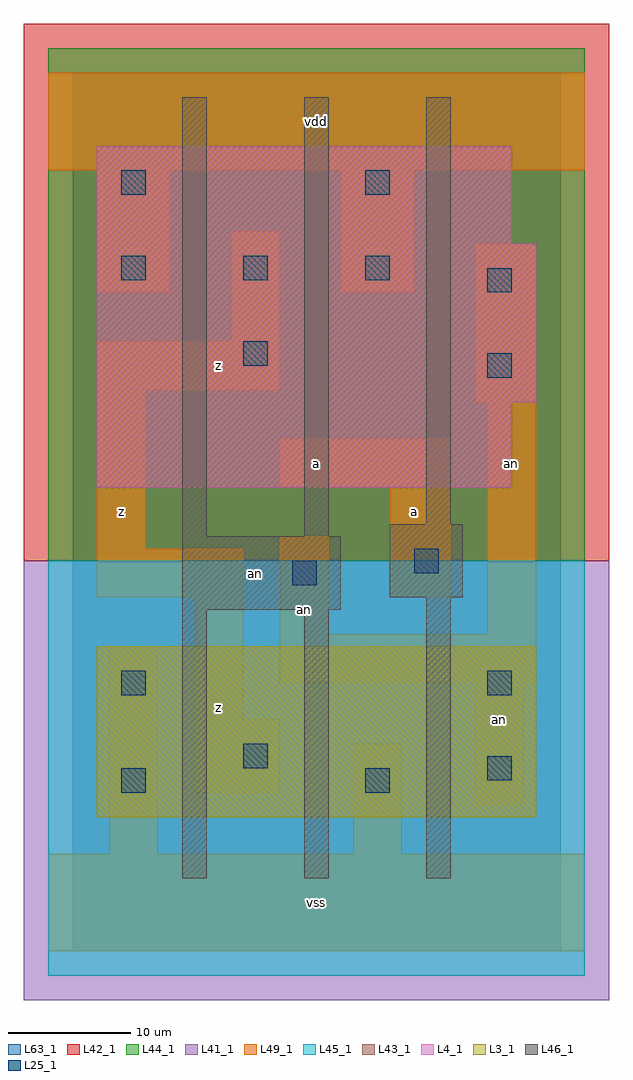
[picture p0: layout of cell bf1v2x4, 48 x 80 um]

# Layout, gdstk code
import gdstk
lib = gdstk.Library(unit=1e-6, precision=1e-09)
def R(c, l, rs):  # rectangles x0, y0, x1, y1
    for r in rs: c.add(gdstk.rectangle(r[:2], r[2:], *l))
def A(c, l, x, y, w, h, nx, ny, dx, dy):  # array of equal rectangles
    R(c, l, [(x+i*dx, y+j*dy, x+i*dx+w, y+j*dy+h) for i in range(nx) for j in range(ny)])
L3_1 = (3, 1)
L4_1 = (4, 1)
L25_1 = (25, 1)
L41_1 = (41, 1)
L42_1 = (42, 1)
L43_1 = (43, 1)
L44_1 = (44, 1)
L45_1 = (45, 1)
L46_1 = (46, 1)
L49_1 = (49, 1)
L63_1 = (63, 1)

bf1v2x4 = lib.new_cell('bf1v2x4')
R(bf1v2x4, L3_1, [(2,11,38,25)])
R(bf1v2x4, L4_1, [(2,38,36,45), (2,45,38,58), (2,58,36,66)])
A(bf1v2x4, L25_1, 4, 55, 2, 2, 3, 1, 10, 0)
R(bf1v2x4, L25_1, [(4,13,6,15), (24,13,26,15), (34,14,36,16), (14,15,16,17), (4,21,6,23), (34,21,36,23), (18,30,20,32), (28,31,30,33), (34,47,36,49), (14,48,16,50), (34,54,36,56), (4,62,6,64), (24,62,26,64)])
R(bf1v2x4, L41_1, [(-4,-4,44,32)])
R(bf1v2x4, L42_1, [(-4,32,44,76)])
R(bf1v2x4, L43_1, [(2,11,38,25), (2,38,36,45), (2,45,38,58), (2,58,36,66)])
R(bf1v2x4, L44_1, [(-2,32,42,74)])
R(bf1v2x4, L45_1, [(-2,-2,42,32)])
R(bf1v2x4, L46_1, [(9,6,11,28), (19,6,21,28), (29,6,31,29), (9,28,22,34), (26,29,32,35), (9,34,11,70), (19,34,21,70), (29,35,31,70)])
R(bf1v2x4, L49_1, [(-2,0,42,8), (3,8,7,25), (23,8,27,17), (33,12,37,22), (10,13,17,19), (10,19,14,29), (17,22,38,26), (17,26,21,34), (34,26,38,45), (2,29,14,33), (26,29,31,38), (2,33,6,46), (17,38,31,42), (33,45,38,58), (2,46,17,50), (13,50,17,59), (2,54,8,64), (22,54,28,64), (-2,64,42,72)])
R(bf1v2x4, L63_1, [(0,0,40,72)])
bf1v2x4.add(gdstk.Label('an', (15,31), layer=46, texttype=1))
bf1v2x4.add(gdstk.Label('z', (4,36), layer=49, texttype=1))
bf1v2x4.add(gdstk.Label('z', (12,20), layer=49, texttype=1))
bf1v2x4.add(gdstk.Label('z', (12,48), layer=49, texttype=1))
bf1v2x4.add(gdstk.Label('vss', (20,4), layer=49, texttype=1))
bf1v2x4.add(gdstk.Label('an', (19,28), layer=49, texttype=1))
bf1v2x4.add(gdstk.Label('a', (28,36), layer=49, texttype=1))
bf1v2x4.add(gdstk.Label('a', (20,40), layer=49, texttype=1))
bf1v2x4.add(gdstk.Label('vdd', (20,68), layer=49, texttype=1))
bf1v2x4.add(gdstk.Label('an', (35,19), layer=49, texttype=1))
bf1v2x4.add(gdstk.Label('an', (36,40), layer=49, texttype=1))

lib.write_gds('bf1v2x4.gds')
